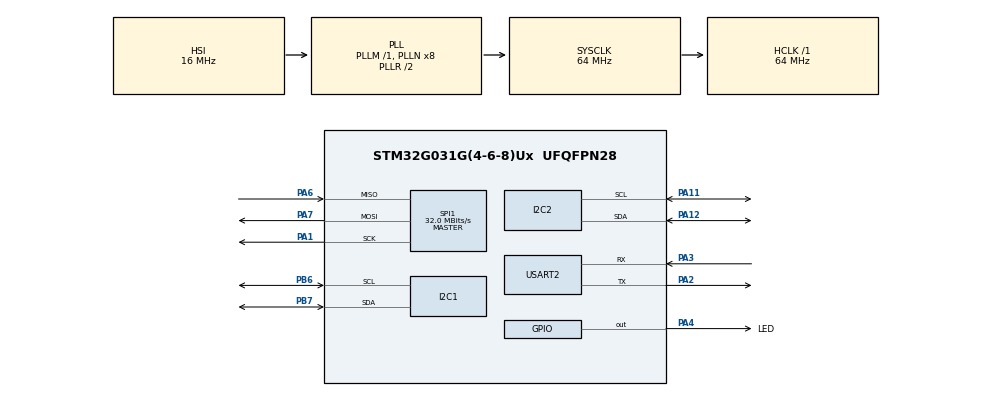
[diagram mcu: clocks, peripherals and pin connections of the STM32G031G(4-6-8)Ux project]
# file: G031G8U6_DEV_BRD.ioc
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I2C1.Timing=0x10707DBC
I2C2.Timing=0x10707DBC
Mcu.Family=STM32G0
Mcu.Name=STM32G031G(4-6-8)Ux
Mcu.Package=UFQFPN28
NVIC.USART2_IRQn=true\:3\:0\:true\:false\:true\:true\:true
PA1.Mode=Full_Duplex_Master
PA1.Signal=SPI1_SCK
PA11\ [PA9].Mode=I2C
PA11\ [PA9].Signal=I2C2_SCL
PA12\ [PA10].Mode=I2C
PA12\ [PA10].Signal=I2C2_SDA
PA2.GPIO_PuPd=GPIO_NOPULL
PA2.GPIO_Speed=GPIO_SPEED_FREQ_HIGH
PA2.Mode=Asynchronous
PA2.Signal=USART2_TX
PA3.GPIO_Speed=GPIO_SPEED_FREQ_HIGH
PA3.Mode=Asynchronous
PA3.Signal=USART2_RX
PA4.GPIO_Label=LED
PA4.Signal=GPIO_Output
PA6.Mode=Full_Duplex_Master
PA6.Signal=SPI1_MISO
PA7.Mode=Full_Duplex_Master
PA7.Signal=SPI1_MOSI
PB3.Signal=S_TIM2_CH2
PB6.Mode=I2C
PB6.Signal=I2C1_SCL
PB7.Mode=I2C
PB7.Signal=I2C1_SDA
ProjectManager.HeapSize=0x200
ProjectManager.StackSize=0x400
ProjectManager.TargetToolchain=STM32CubeIDE
RCC.ADCFreq_Value=64000000
RCC.AHBFreq_Value=64000000
RCC.CortexFreq_Value=64000000
RCC.EXTERNAL_CLOCK_VALUE=12288000
RCC.HCLKFreq_Value=64000000
RCC.HSE_VALUE=8000000
RCC.HSI_VALUE=16000000
RCC.LSE_VALUE=32768
RCC.SYSCLKFreq_VALUE=64000000
RCC.SYSCLKSource=RCC_SYSCLKSOURCE_PLLCLK
RCC.VCOOutputFreq_Value=128000000
SH.S_TIM2_CH2.0=TIM2_CH2
SPI1.CalculateBaudRate=32.0 MBits/s
SPI1.Direction=SPI_DIRECTION_2LINES
SPI1.Mode=SPI_MODE_MASTER
SPI1.VirtualType=VM_MASTER
USART2.VirtualMode-Asynchronous=VM_ASYNC
board=custom

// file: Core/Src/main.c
/* USER CODE BEGIN Header */
/**
  ******************************************************************************
  * @file           : main.c
  * @brief          : Main program body
  ******************************************************************************
  * @attention
  *
  * <h2><center>&copy; Copyright (c) 2022 STMicroelectronics.
  * All rights reserved.</center></h2>
  *
  * This software component is licensed by ST under BSD 3-Clause license,
  * the "License"; You may not use this file except in compliance with the
  * License. You may obtain a copy of the License at:
  *                        opensource.org/licenses/BSD-3-Clause
  *
  ******************************************************************************
  */
/* USER CODE END Header */
#include "main.h"

I2C_HandleTypeDef hi2c1;
I2C_HandleTypeDef hi2c2;

SPI_HandleTypeDef hspi1;

UART_HandleTypeDef huart2;

/* USER CODE BEGIN PV */
uint8_t key;
uint8_t len;
uint8_t times = 0;
/* USER CODE END PV */

void SystemClock_Config(void);
static void MX_GPIO_Init(void);
static void MX_USART2_UART_Init(void);
static void MX_I2C1_Init(void);
static void MX_I2C2_Init(void);
static void MX_SPI1_Init(void);

int main(void)
{

  /* MCU Configuration--------------------------------------------------------*/

  /* Reset of all peripherals, Initializes the Flash interface and the Systick. */
  HAL_Init();

  /* Configure the system clock */
  SystemClock_Config();

  /* Initialize all configured peripherals */
  MX_GPIO_Init();
  MX_USART2_UART_Init();
  MX_I2C1_Init();
  MX_I2C2_Init();
  MX_SPI1_Init();

  /* Infinite loop */
  /* USER CODE BEGIN WHILE */
  HAL_GPIO_WritePin(LED_GPIO_Port, LED_Pin, GPIO_PIN_RESET);
  while (1)
  {
//	  HAL_GPIO_WritePin(LED_GPIO_Port, LED_Pin, !HAL_GPIO_ReadPin(LED_GPIO_Port, LED_Pin));
//	  HAL_Delay(500);
    /* USER CODE END WHILE */

    /* USER CODE BEGIN 3 */
      if(USART_RX_STA&0x8000)
		{
			len=USART_RX_STA&0x3fff;//得到此次接收到的数据长度
			printf("\r\n您发送的消息为::\r\n");
			HAL_UART_Transmit(&huart2,(uint8_t*)USART_RX_BUF,len,1000);//发送接收到的数据
			while(__HAL_UART_GET_FLAG(&huart2,UART_FLAG_TC)!=SET);//等待发送结束
			printf("\r\n\r\n");//插入换行
			USART_RX_STA = 0;
		}
		else
		{
			times++;

			if (times % 5000 == 0)
			{
				printf("\r\nALIENTEK 战舰 STM32开发板 串口实验\r\n");
				printf("正点原子@ALIENTEK\r\n\r\n\r\n");
			}
			if (times % 200 == 0)
				printf("请输入数据,以回车键结束\r\n");
			if (times % 30 == 0)
				HAL_GPIO_WritePin(LED_GPIO_Port, LED_Pin, !HAL_GPIO_ReadPin(LED_GPIO_Port, LED_Pin));		//闪烁LED,提示系统正在运行..
			HAL_Delay(10);
		}
  }
  /* USER CODE END 3 */
}

void SystemClock_Config(void)
{
  RCC_OscInitTypeDef RCC_OscInitStruct = {0};
  RCC_ClkInitTypeDef RCC_ClkInitStruct = {0};
  RCC_PeriphCLKInitTypeDef PeriphClkInit = {0};

  /** Configure the main internal regulator output voltage
  */
  HAL_PWREx_ControlVoltageScaling(PWR_REGULATOR_VOLTAGE_SCALE1);
  /** Initializes the RCC Oscillators according to the specified parameters
  * in the RCC_OscInitTypeDef structure.
  */
  RCC_OscInitStruct.OscillatorType = RCC_OSCILLATORTYPE_HSI;
  RCC_OscInitStruct.HSIState = RCC_HSI_ON;
  RCC_OscInitStruct.HSIDiv = RCC_HSI_DIV1;
  RCC_OscInitStruct.HSICalibrationValue = RCC_HSICALIBRATION_DEFAULT;
  RCC_OscInitStruct.PLL.PLLState = RCC_PLL_ON;
  RCC_OscInitStruct.PLL.PLLSource = RCC_PLLSOURCE_HSI;
  RCC_OscInitStruct.PLL.PLLM = RCC_PLLM_DIV1;
  RCC_OscInitStruct.PLL.PLLN = 8;
  RCC_OscInitStruct.PLL.PLLP = RCC_PLLP_DIV2;
  RCC_OscInitStruct.PLL.PLLQ = RCC_PLLQ_DIV2;
  RCC_OscInitStruct.PLL.PLLR = RCC_PLLR_DIV2;
  if (HAL_RCC_OscConfig(&RCC_OscInitStruct) != HAL_OK)
  {
    Error_Handler();
  }
  /** Initializes the CPU, AHB and APB buses clocks
  */
  RCC_ClkInitStruct.ClockType = RCC_CLOCKTYPE_HCLK|RCC_CLOCKTYPE_SYSCLK
                              |RCC_CLOCKTYPE_PCLK1;
  RCC_ClkInitStruct.SYSCLKSource = RCC_SYSCLKSOURCE_PLLCLK;
  RCC_ClkInitStruct.AHBCLKDivider = RCC_SYSCLK_DIV1;
  RCC_ClkInitStruct.APB1CLKDivider = RCC_HCLK_DIV1;

  if (HAL_RCC_ClockConfig(&RCC_ClkInitStruct, FLASH_LATENCY_2) != HAL_OK)
  {
    Error_Handler();
  }
  /** Initializes the peripherals clocks
  */
  PeriphClkInit.PeriphClockSelection = RCC_PERIPHCLK_I2C1;
  PeriphClkInit.I2c1ClockSelection = RCC_I2C1CLKSOURCE_PCLK1;
  if (HAL_RCCEx_PeriphCLKConfig(&PeriphClkInit) != HAL_OK)
  {
    Error_Handler();
  }
}

static void MX_I2C1_Init(void)
{

  hi2c1.Instance = I2C1;
  hi2c1.Init.Timing = 0x10707DBC;
  hi2c1.Init.OwnAddress1 = 0;
  hi2c1.Init.AddressingMode = I2C_ADDRESSINGMODE_7BIT;
  hi2c1.Init.DualAddressMode = I2C_DUALADDRESS_DISABLE;
  hi2c1.Init.OwnAddress2 = 0;
  hi2c1.Init.OwnAddress2Masks = I2C_OA2_NOMASK;
  hi2c1.Init.GeneralCallMode = I2C_GENERALCALL_DISABLE;
  hi2c1.Init.NoStretchMode = I2C_NOSTRETCH_DISABLE;
  if (HAL_I2C_Init(&hi2c1) != HAL_OK)
  {
    Error_Handler();
  }
  /** Configure Analogue filter
  */
  if (HAL_I2CEx_ConfigAnalogFilter(&hi2c1, I2C_ANALOGFILTER_ENABLE) != HAL_OK)
  {
    Error_Handler();
  }
  /** Configure Digital filter
  */
  if (HAL_I2CEx_ConfigDigitalFilter(&hi2c1, 0) != HAL_OK)
  {
    Error_Handler();
  }

}

static void MX_I2C2_Init(void)
{

  hi2c2.Instance = I2C2;
  hi2c2.Init.Timing = 0x10707DBC;
  hi2c2.Init.OwnAddress1 = 0;
  hi2c2.Init.AddressingMode = I2C_ADDRESSINGMODE_7BIT;
  hi2c2.Init.DualAddressMode = I2C_DUALADDRESS_DISABLE;
  hi2c2.Init.OwnAddress2 = 0;
  hi2c2.Init.OwnAddress2Masks = I2C_OA2_NOMASK;
  hi2c2.Init.GeneralCallMode = I2C_GENERALCALL_DISABLE;
  hi2c2.Init.NoStretchMode = I2C_NOSTRETCH_DISABLE;
  if (HAL_I2C_Init(&hi2c2) != HAL_OK)
  {
    Error_Handler();
  }
  /** Configure Analogue filter
  */
  if (HAL_I2CEx_ConfigAnalogFilter(&hi2c2, I2C_ANALOGFILTER_ENABLE) != HAL_OK)
  {
    Error_Handler();
  }
  /** Configure Digital filter
  */
  if (HAL_I2CEx_ConfigDigitalFilter(&hi2c2, 0) != HAL_OK)
  {
    Error_Handler();
  }

}

static void MX_SPI1_Init(void)
{

  /* SPI1 parameter configuration*/
  hspi1.Instance = SPI1;
  hspi1.Init.Mode = SPI_MODE_MASTER;
  hspi1.Init.Direction = SPI_DIRECTION_2LINES;
  hspi1.Init.DataSize = SPI_DATASIZE_8BIT;
  hspi1.Init.CLKPolarity = SPI_POLARITY_LOW;
  hspi1.Init.CLKPhase = SPI_PHASE_1EDGE;
  hspi1.Init.NSS = SPI_NSS_SOFT;
  hspi1.Init.BaudRatePrescaler = SPI_BAUDRATEPRESCALER_2;
  hspi1.Init.FirstBit = SPI_FIRSTBIT_MSB;
  hspi1.Init.TIMode = SPI_TIMODE_DISABLE;
  hspi1.Init.CRCCalculation = SPI_CRCCALCULATION_DISABLE;
  hspi1.Init.CRCPolynomial = 7;
  hspi1.Init.CRCLength = SPI_CRC_LENGTH_DATASIZE;
  hspi1.Init.NSSPMode = SPI_NSS_PULSE_ENABLE;
  if (HAL_SPI_Init(&hspi1) != HAL_OK)
  {
    Error_Handler();
  }

}

static void MX_USART2_UART_Init(void)
{

  huart2.Instance = USART2;
  huart2.Init.BaudRate = 115200;
  huart2.Init.WordLength = UART_WORDLENGTH_8B;
  huart2.Init.StopBits = UART_STOPBITS_1;
  huart2.Init.Parity = UART_PARITY_NONE;
  huart2.Init.Mode = UART_MODE_TX_RX;
  huart2.Init.HwFlowCtl = UART_HWCONTROL_NONE;
  huart2.Init.OverSampling = UART_OVERSAMPLING_16;
  huart2.Init.OneBitSampling = UART_ONE_BIT_SAMPLE_DISABLE;
  huart2.Init.ClockPrescaler = UART_PRESCALER_DIV1;
  huart2.AdvancedInit.AdvFeatureInit = UART_ADVFEATURE_NO_INIT;
  if (HAL_UART_Init(&huart2) != HAL_OK)
  {
    Error_Handler();
  }
  /* USER CODE BEGIN USART2_Init 2 */
  HAL_UART_Receive_IT(&huart2, (uint8_t *)aRxBuffer, RXBUFFERSIZE);
  /* USER CODE END USART2_Init 2 */

}

static void MX_GPIO_Init(void)
{
  GPIO_InitTypeDef GPIO_InitStruct = {0};

  /* GPIO Ports Clock Enable */
  __HAL_RCC_GPIOA_CLK_ENABLE();
  __HAL_RCC_GPIOB_CLK_ENABLE();

  /*Configure GPIO pin Output Level */
  HAL_GPIO_WritePin(LED_GPIO_Port, LED_Pin, GPIO_PIN_RESET);

  /*Configure GPIO pin : LED_Pin */
  GPIO_InitStruct.Pin = LED_Pin;
  GPIO_InitStruct.Mode = GPIO_MODE_OUTPUT_PP;
  GPIO_InitStruct.Pull = GPIO_NOPULL;
  GPIO_InitStruct.Speed = GPIO_SPEED_FREQ_LOW;
  HAL_GPIO_Init(LED_GPIO_Port, &GPIO_InitStruct);

  /*Configure GPIO pin : PB3 */
  GPIO_InitStruct.Pin = GPIO_PIN_3;
  GPIO_InitStruct.Mode = GPIO_MODE_AF_PP;
  GPIO_InitStruct.Pull = GPIO_NOPULL;
  GPIO_InitStruct.Speed = GPIO_SPEED_FREQ_LOW;
  GPIO_InitStruct.Alternate = GPIO_AF2_TIM2;
  HAL_GPIO_Init(GPIOB, &GPIO_InitStruct);

}

void Error_Handler(void)
{
  __disable_irq();
  while (1)
  {
  }
}

/************************ (C) COPYRIGHT STMicroelectronics *****END OF FILE****/
